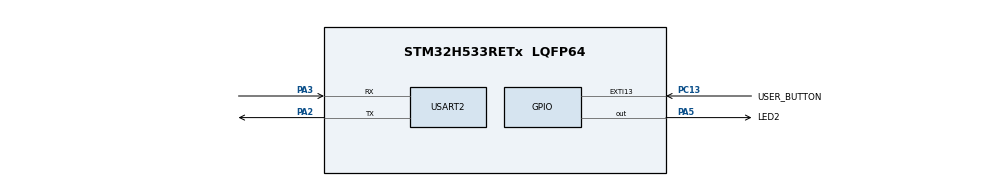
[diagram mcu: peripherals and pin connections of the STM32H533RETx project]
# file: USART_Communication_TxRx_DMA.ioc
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BOOTPATH.BootPathName=LEGACY
BOOTPATH.UserSelectedBootPath=LEGACY
CORTEX_M33_NS.userName=CORTEX_M33
GPDMA1.DESTINC_GPDMACH1=DMA_DINC_INCREMENTED
GPDMA1.IPHANDLE_GPDMACH0-SIMPLEREQUEST_GPDMACH0=__NULL
GPDMA1.IPHANDLE_GPDMACH1-SIMPLEREQUEST_GPDMACH1=__NULL
GPDMA1.REQUEST_GPDMACH0=GPDMA1_REQUEST_USART2_TX
GPDMA1.REQUEST_GPDMACH1=GPDMA1_REQUEST_USART2_RX
GPDMA1.SRCINC_GPDMACH0=DMA_SINC_INCREMENTED
Mcu.Family=STM32H5
Mcu.Name=STM32H533RETx
Mcu.Package=LQFP64
NVIC.EXTI13_IRQn=true\:0\:0\:false\:false\:true\:true\:true\:true
NVIC.GPDMA1_Channel0_IRQn=true\:0\:0\:false\:false\:true\:false\:true\:true
NVIC.GPDMA1_Channel1_IRQn=true\:0\:0\:false\:false\:true\:false\:true\:true
NVIC.PriorityGroup=NVIC_PRIORITYGROUP_4
NVIC.USART2_IRQn=true\:0\:0\:false\:false\:true\:true\:true\:true
PA2.Mode=Asynchronous
PA2.Signal=USART2_TX
PA3.Mode=Asynchronous
PA3.Signal=USART2_RX
PA5.GPIO_Label=LED2
PA5.Signal=GPIO_Output
PC13.GPIO_Label=USER_BUTTON
PC13.Signal=GPXTI13
PH0-OSC_IN(PH0).Mode=HSE-External-Oscillator
PH0-OSC_IN(PH0).Signal=RCC_OSC_IN
PH1-OSC_OUT(PH1).Mode=HSE-External-Oscillator
PH1-OSC_OUT(PH1).Signal=RCC_OSC_OUT
ProjectManager.HeapSize=0x200
ProjectManager.StackSize=0x400
ProjectManager.TargetToolchain=EWARM V9.20
RCC.ADCFreq_Value=250000000
RCC.AHBFreq_Value=250000000
RCC.APB1Freq_Value=250000000
RCC.APB1TimFreq_Value=250000000
RCC.APB2Freq_Value=250000000
RCC.APB2TimFreq_Value=250000000
RCC.APB3Freq_Value=250000000
RCC.CSI_VALUE=4000000
RCC.CortexFreq_Value=250000000
RCC.EPOD_VALUE=24000000
RCC.HCLKFreq_Value=250000000
RCC.HSE_VALUE=24000000
RCC.HSI48_VALUE=48000000
RCC.HSI_VALUE=64000000
RCC.LSE_VALUE=32768
RCC.LSIRC_VALUE=32000
RCC.PLLM=12
RCC.PLLN=250
RCC.PLLSourceVirtual=RCC_PLL1_SOURCE_HSE
RCC.SYSCLKFreq_VALUE=250000000
RCC.SYSCLKSource=RCC_SYSCLKSOURCE_PLLCLK
RCC.USBFreq_Value=48000000
RCC.VCOOutputFreq_Value=500000000
USART2.VirtualMode=VM_ASYNC
VP_BOOTPATH_VS_BOOTPATH.Mode=BP_Activate
VP_CORTEX_M33_NS_VS_Hclk.Mode=Hclk_Mode
VP_GPDMA1_VS_GPDMACH0.Mode=SIMPLEREQUEST_GPDMACH0
VP_GPDMA1_VS_GPDMACH1.Mode=SIMPLEREQUEST_GPDMACH1
VP_ICACHE_VS_ICACHE.Mode=DefaultMode
VP_MEMORYMAP_VS_MEMORYMAP.Mode=CurAppReg
VP_PWR_VS_DBSignals.Mode=DisableDeadBatterySignals
VP_PWR_VS_LPOM.Mode=PowerOptimisation
VP_PWR_VS_SECSignals.Mode=Security/Privilege
board=custom

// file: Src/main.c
/* USER CODE BEGIN Header */
/**
  ******************************************************************************
  * @file   USART/USART_Communication_TxRx_DMA/Src/main.c
  * @brief  This sample code shows how to use STM32H5xx USART AND GPDMA LL API to transfer data
  *         to/from UART peripheral from/to a PC hyperTerminal application, in DMA mode.
  ******************************************************************************
  * @attention
  *
  * Copyright (c) 2023 STMicroelectronics.
  * All rights reserved.
  *
  * This software is licensed under terms that can be found in the LICENSE file
  * in the root directory of this software component.
  * If no LICENSE file comes with this software, it is provided AS-IS.
  *
  ******************************************************************************
  */
/* USER CODE END Header */
#include "main.h"

/* USER CODE BEGIN PV */
__IO uint8_t ubButtonPress = 0;
__IO uint8_t ubSend = 0;
/* Buffer used for transmission */
const uint8_t aTxBuffer[] = "STM32H5xx USART LL API Example : TX/RX in DMA mode\r\nConfiguration UART 115200 bps, 8 data bit/1 stop bit/No parity/No HW flow control\r\nPlease enter 'END' string ...\r\n";
uint8_t ubNbDataToTransmit = sizeof(aTxBuffer);
__IO uint8_t ubTransmissionComplete = 0;

/* Buffer used for reception */
const uint8_t aStringToReceive[] = "END";
uint8_t ubNbDataToReceive = sizeof(aStringToReceive) - 1;
uint8_t aRxBuffer[sizeof(aStringToReceive) - 1];
__IO uint8_t ubReceptionComplete = 0;

/* USER CODE END PV */

void SystemClock_Config(void);
static void MX_GPIO_Init(void);
static void MX_GPDMA1_Init(void);
static void MX_ICACHE_Init(void);
static void MX_USART2_UART_Init(void);
/* USER CODE BEGIN PFP */
void     StartTransfers(void);
void     LED_On(void);
void     LED_Blinking(uint32_t Period);
void     LED_Off(void);
void     WaitForUserButtonPress(void);
void     WaitAndCheckEndOfTransfer(void);
uint8_t  Buffercmp8(uint8_t* pBuffer1, uint8_t* pBuffer2, uint8_t BufferLength);

/* USER CODE END PFP */

int main(void)
{

  /* MCU Configuration--------------------------------------------------------*/

  /* Reset of all peripherals, Initializes the Flash interface and the Systick. */

  /* System interrupt init*/
  NVIC_SetPriorityGrouping(NVIC_PRIORITYGROUP_4);

  /* SysTick_IRQn interrupt configuration */
  NVIC_SetPriority(SysTick_IRQn, NVIC_EncodePriority(NVIC_GetPriorityGrouping(),15, 0));

  /* Disable the internal Pull-Up in Dead Battery pins of UCPD peripheral */
  LL_PWR_DisableUCPDDeadBattery();

  /* Configure the system clock */
  SystemClock_Config();

  /* Initialize all configured peripherals */
  MX_GPIO_Init();
  MX_GPDMA1_Init();
  MX_ICACHE_Init();
  MX_USART2_UART_Init();
  /* USER CODE BEGIN 2 */
  /* Wait for USER push-button press to start transfer */
  WaitForUserButtonPress();

  /* Initiate DMA transfers */
  StartTransfers();

  /* Wait for the end of the transfer and check received data */
  WaitAndCheckEndOfTransfer();

  /* USER CODE END 2 */

  /* Infinite loop */
  while (1)
  {

  }
}

void SystemClock_Config(void)
{
  LL_FLASH_SetLatency(LL_FLASH_LATENCY_5);
  while(LL_FLASH_GetLatency()!= LL_FLASH_LATENCY_5)
  {
  }

  LL_PWR_SetRegulVoltageScaling(LL_PWR_REGU_VOLTAGE_SCALE0);
  while (LL_PWR_IsActiveFlag_VOS() == 0)
  {
  }
  LL_RCC_HSE_Enable();

   /* Wait till HSE is ready */
  while(LL_RCC_HSE_IsReady() != 1)
  {
  }

  LL_RCC_PLL1_SetSource(LL_RCC_PLL1SOURCE_HSE);
  LL_RCC_PLL1_SetVCOInputRange(LL_RCC_PLLINPUTRANGE_2_4);
  LL_RCC_PLL1_SetVCOOutputRange(LL_RCC_PLLVCORANGE_WIDE);
  LL_RCC_PLL1_SetM(12);
  LL_RCC_PLL1_SetN(250);
  LL_RCC_PLL1_SetP(2);
  LL_RCC_PLL1_SetQ(2);
  LL_RCC_PLL1_SetR(2);
  LL_RCC_PLL1P_Enable();
  LL_RCC_PLL1_Enable();

   /* Wait till PLL is ready */
  while(LL_RCC_PLL1_IsReady() != 1)
  {
  }

  LL_RCC_SetSysClkSource(LL_RCC_SYS_CLKSOURCE_PLL1);

   /* Wait till System clock is ready */
  while(LL_RCC_GetSysClkSource() != LL_RCC_SYS_CLKSOURCE_STATUS_PLL1)
  {
  }

  LL_RCC_SetAHBPrescaler(LL_RCC_SYSCLK_DIV_1);
  LL_RCC_SetAPB1Prescaler(LL_RCC_APB1_DIV_1);
  LL_RCC_SetAPB2Prescaler(LL_RCC_APB2_DIV_1);
  LL_RCC_SetAPB3Prescaler(LL_RCC_APB3_DIV_1);

  LL_Init1msTick(250000000);

  LL_SetSystemCoreClock(250000000);
}

static void MX_GPDMA1_Init(void)
{

  /* Peripheral clock enable */
  LL_AHB1_GRP1_EnableClock(LL_AHB1_GRP1_PERIPH_GPDMA1);

  /* GPDMA1 interrupt Init */
  NVIC_SetPriority(GPDMA1_Channel0_IRQn, NVIC_EncodePriority(NVIC_GetPriorityGrouping(),0, 0));
  NVIC_EnableIRQ(GPDMA1_Channel0_IRQn);
  NVIC_SetPriority(GPDMA1_Channel1_IRQn, NVIC_EncodePriority(NVIC_GetPriorityGrouping(),0, 0));
  NVIC_EnableIRQ(GPDMA1_Channel1_IRQn);

}

static void MX_ICACHE_Init(void)
{

  /** Enable instruction cache (default 2-ways set associative cache)
  */
  LL_ICACHE_Enable();

}

static void MX_USART2_UART_Init(void)
{

  LL_USART_InitTypeDef USART_InitStruct = {0};

  LL_GPIO_InitTypeDef GPIO_InitStruct = {0};
  LL_DMA_InitTypeDef DMA_InitStruct = {0};

  LL_RCC_SetUSARTClockSource(LL_RCC_USART2_CLKSOURCE_PCLK1);

  /* Peripheral clock enable */
  LL_APB1_GRP1_EnableClock(LL_APB1_GRP1_PERIPH_USART2);

  LL_AHB2_GRP1_EnableClock(LL_AHB2_GRP1_PERIPH_GPIOA);
  /**USART2 GPIO Configuration
  PA2   ------> USART2_TX
  PA3   ------> USART2_RX
  */
  GPIO_InitStruct.Pin = LL_GPIO_PIN_2|LL_GPIO_PIN_3;
  GPIO_InitStruct.Mode = LL_GPIO_MODE_ALTERNATE;
  GPIO_InitStruct.Speed = LL_GPIO_SPEED_FREQ_LOW;
  GPIO_InitStruct.OutputType = LL_GPIO_OUTPUT_PUSHPULL;
  GPIO_InitStruct.Pull = LL_GPIO_PULL_NO;
  GPIO_InitStruct.Alternate = LL_GPIO_AF_7;
  LL_GPIO_Init(GPIOA, &GPIO_InitStruct);

  /* USART2 DMA Init */

  /* GPDMA1_REQUEST_USART2_RX Init */
  DMA_InitStruct.SrcAddress = 0x00000000U;
  DMA_InitStruct.DestAddress = 0x00000000U;
  DMA_InitStruct.Direction = LL_DMA_DIRECTION_PERIPH_TO_MEMORY;
  DMA_InitStruct.BlkHWRequest = LL_DMA_HWREQUEST_SINGLEBURST;
  DMA_InitStruct.DataAlignment = LL_DMA_DATA_ALIGN_ZEROPADD;
  DMA_InitStruct.SrcBurstLength = 1;
  DMA_InitStruct.DestBurstLength = 1;
  DMA_InitStruct.SrcDataWidth = LL_DMA_SRC_DATAWIDTH_BYTE;
  DMA_InitStruct.DestDataWidth = LL_DMA_DEST_DATAWIDTH_BYTE;
  DMA_InitStruct.SrcIncMode = LL_DMA_SRC_FIXED;
  DMA_InitStruct.DestIncMode = LL_DMA_DEST_INCREMENT;
  DMA_InitStruct.Priority = LL_DMA_LOW_PRIORITY_LOW_WEIGHT;
  DMA_InitStruct.BlkDataLength = 0x00000000U;
  DMA_InitStruct.TriggerMode = LL_DMA_TRIGM_BLK_TRANSFER;
  DMA_InitStruct.TriggerPolarity = LL_DMA_TRIG_POLARITY_MASKED;
  DMA_InitStruct.TriggerSelection = 0x00000000U;
  DMA_InitStruct.Request = LL_GPDMA1_REQUEST_USART2_RX;
  DMA_InitStruct.TransferEventMode = LL_DMA_TCEM_BLK_TRANSFER;
  DMA_InitStruct.Mode = LL_DMA_NORMAL;
  DMA_InitStruct.SrcAllocatedPort = LL_DMA_SRC_ALLOCATED_PORT0;
  DMA_InitStruct.DestAllocatedPort = LL_DMA_DEST_ALLOCATED_PORT0;
  DMA_InitStruct.LinkAllocatedPort = LL_DMA_LINK_ALLOCATED_PORT1;
  DMA_InitStruct.LinkStepMode = LL_DMA_LSM_FULL_EXECUTION;
  DMA_InitStruct.LinkedListBaseAddr = 0x00000000U;
  DMA_InitStruct.LinkedListAddrOffset = 0x00000000U;
  LL_DMA_Init(GPDMA1, LL_DMA_CHANNEL_1, &DMA_InitStruct);

  /* GPDMA1_REQUEST_USART2_TX Init */
  DMA_InitStruct.SrcAddress = 0x00000000U;
  DMA_InitStruct.DestAddress = 0x00000000U;
  DMA_InitStruct.Direction = LL_DMA_DIRECTION_PERIPH_TO_MEMORY;
  DMA_InitStruct.BlkHWRequest = LL_DMA_HWREQUEST_SINGLEBURST;
  DMA_InitStruct.DataAlignment = LL_DMA_DATA_ALIGN_ZEROPADD;
  DMA_InitStruct.SrcBurstLength = 1;
  DMA_InitStruct.DestBurstLength = 1;
  DMA_InitStruct.SrcDataWidth = LL_DMA_SRC_DATAWIDTH_BYTE;
  DMA_InitStruct.DestDataWidth = LL_DMA_DEST_DATAWIDTH_BYTE;
  DMA_InitStruct.SrcIncMode = LL_DMA_SRC_INCREMENT;
  DMA_InitStruct.DestIncMode = LL_DMA_DEST_FIXED;
  DMA_InitStruct.Priority = LL_DMA_LOW_PRIORITY_LOW_WEIGHT;
  DMA_InitStruct.BlkDataLength = 0x00000000U;
  DMA_InitStruct.TriggerMode = LL_DMA_TRIGM_BLK_TRANSFER;
  DMA_InitStruct.TriggerPolarity = LL_DMA_TRIG_POLARITY_MASKED;
  DMA_InitStruct.TriggerSelection = 0x00000000U;
  DMA_InitStruct.Request = LL_GPDMA1_REQUEST_USART2_TX;
  DMA_InitStruct.TransferEventMode = LL_DMA_TCEM_BLK_TRANSFER;
  DMA_InitStruct.Mode = LL_DMA_NORMAL;
  DMA_InitStruct.SrcAllocatedPort = LL_DMA_SRC_ALLOCATED_PORT0;
  DMA_InitStruct.DestAllocatedPort = LL_DMA_DEST_ALLOCATED_PORT0;
  DMA_InitStruct.LinkAllocatedPort = LL_DMA_LINK_ALLOCATED_PORT1;
  DMA_InitStruct.LinkStepMode = LL_DMA_LSM_FULL_EXECUTION;
  DMA_InitStruct.LinkedListBaseAddr = 0x00000000U;
  DMA_InitStruct.LinkedListAddrOffset = 0x00000000U;
  LL_DMA_Init(GPDMA1, LL_DMA_CHANNEL_0, &DMA_InitStruct);

  /* USART2 interrupt Init */
  NVIC_SetPriority(USART2_IRQn, NVIC_EncodePriority(NVIC_GetPriorityGrouping(),0, 0));
  NVIC_EnableIRQ(USART2_IRQn);

  /* USER CODE BEGIN USART2_Init 1 */
  /* Configure the DMA functional parameters for transmission */
  LL_DMA_ConfigAddresses(GPDMA1, LL_DMA_CHANNEL_0,
                         (uint32_t)aTxBuffer,
                         LL_USART_DMA_GetRegAddr(USART2, LL_USART_DMA_REG_DATA_TRANSMIT));
  LL_DMA_SetBlkDataLength(GPDMA1, LL_DMA_CHANNEL_0, ubNbDataToTransmit);

  /* Configure the DMA functional parameters for reception */
  LL_DMA_ConfigAddresses(GPDMA1, LL_DMA_CHANNEL_1,
                         LL_USART_DMA_GetRegAddr(USART2, LL_USART_DMA_REG_DATA_RECEIVE),
                         (uint32_t)aRxBuffer);
  LL_DMA_SetBlkDataLength(GPDMA1, LL_DMA_CHANNEL_1, ubNbDataToReceive);

  /* Enable DMA transfer complete/error interrupts  */
  LL_DMA_EnableIT_TC(GPDMA1, LL_DMA_CHANNEL_0);
  LL_DMA_EnableIT_DTE(GPDMA1, LL_DMA_CHANNEL_0);
  LL_DMA_EnableIT_TC(GPDMA1, LL_DMA_CHANNEL_1);
  LL_DMA_EnableIT_DTE(GPDMA1, LL_DMA_CHANNEL_1);

  /* USER CODE END USART2_Init 1 */
  USART_InitStruct.PrescalerValue = LL_USART_PRESCALER_DIV1;
  USART_InitStruct.BaudRate = 115200;
  USART_InitStruct.DataWidth = LL_USART_DATAWIDTH_8B;
  USART_InitStruct.StopBits = LL_USART_STOPBITS_1;
  USART_InitStruct.Parity = LL_USART_PARITY_NONE;
  USART_InitStruct.TransferDirection = LL_USART_DIRECTION_TX_RX;
  USART_InitStruct.HardwareFlowControl = LL_USART_HWCONTROL_NONE;
  USART_InitStruct.OverSampling = LL_USART_OVERSAMPLING_16;
  LL_USART_Init(USART2, &USART_InitStruct);
  LL_USART_SetTXFIFOThreshold(USART2, LL_USART_FIFOTHRESHOLD_1_8);
  LL_USART_SetRXFIFOThreshold(USART2, LL_USART_FIFOTHRESHOLD_1_8);
  LL_USART_DisableFIFO(USART2);
  LL_USART_ConfigAsyncMode(USART2);
  LL_USART_Enable(USART2);

}

static void MX_GPIO_Init(void)
{
  LL_EXTI_InitTypeDef EXTI_InitStruct = {0};
  LL_GPIO_InitTypeDef GPIO_InitStruct = {0};

  /* GPIO Ports Clock Enable */
  LL_AHB2_GRP1_EnableClock(LL_AHB2_GRP1_PERIPH_GPIOC);
  LL_AHB2_GRP1_EnableClock(LL_AHB2_GRP1_PERIPH_GPIOH);
  LL_AHB2_GRP1_EnableClock(LL_AHB2_GRP1_PERIPH_GPIOA);

  /**/
  LL_GPIO_ResetOutputPin(LED2_GPIO_Port, LED2_Pin);

  /**/
  LL_EXTI_SetEXTISource(LL_EXTI_EXTI_PORTC, LL_EXTI_EXTI_LINE13);

  /**/
  EXTI_InitStruct.Line_0_31 = LL_EXTI_LINE_13;
  EXTI_InitStruct.Line_32_63 = LL_EXTI_LINE_NONE;
  EXTI_InitStruct.LineCommand = ENABLE;
  EXTI_InitStruct.Mode = LL_EXTI_MODE_IT;
  EXTI_InitStruct.Trigger = LL_EXTI_TRIGGER_RISING;
  LL_EXTI_Init(&EXTI_InitStruct);

  /**/
  LL_GPIO_SetPinPull(USER_BUTTON_GPIO_Port, USER_BUTTON_Pin, LL_GPIO_PULL_NO);

  /**/
  LL_GPIO_SetPinMode(USER_BUTTON_GPIO_Port, USER_BUTTON_Pin, LL_GPIO_MODE_INPUT);

  /**/
  GPIO_InitStruct.Pin = LED2_Pin;
  GPIO_InitStruct.Mode = LL_GPIO_MODE_OUTPUT;
  GPIO_InitStruct.Speed = LL_GPIO_SPEED_FREQ_LOW;
  GPIO_InitStruct.OutputType = LL_GPIO_OUTPUT_PUSHPULL;
  GPIO_InitStruct.Pull = LL_GPIO_PULL_NO;
  LL_GPIO_Init(LED2_GPIO_Port, &GPIO_InitStruct);

  /* EXTI interrupt init*/
  NVIC_SetPriority(EXTI13_IRQn, NVIC_EncodePriority(NVIC_GetPriorityGrouping(),0, 0));
  NVIC_EnableIRQ(EXTI13_IRQn);

}

/* USER CODE BEGIN 4 */
/**
  * @brief  This function initiates TX and RX DMA transfers by enabling DMA channels
  * @param  None
  * @retval None
  */
void StartTransfers(void)
{
  /* Enable DMA RX Interrupt */
  LL_USART_EnableDMAReq_RX(USART2);

  /* Enable DMA TX Interrupt */
  LL_USART_EnableDMAReq_TX(USART2);

  /* Enable DMA Channel Rx */
  LL_DMA_EnableChannel(GPDMA1, LL_DMA_CHANNEL_1);

  /* Enable DMA Channel Tx */
  LL_DMA_EnableChannel(GPDMA1, LL_DMA_CHANNEL_0);
}

/**
  * @brief  Turn-on LED2.
  * @param  None
  * @retval None
  */
void LED_On(void)
{
  /* Turn LED2 on */
  LL_GPIO_SetOutputPin(LED2_GPIO_Port, LED2_Pin);
}

/**
  * @brief  Turn-off LED2.
  * @param  None
  * @retval None
  */
void LED_Off(void)
{
  /* Turn LED2 off */
  LL_GPIO_ResetOutputPin(LED2_GPIO_Port, LED2_Pin);
}

/**
  * @brief  Set LED2 to Blinking mode for an infinite loop (toggle period based on value provided as input parameter).
  * @param  Period : Period of time (in ms) between each toggling of LED
  *   This parameter can be user defined values. Pre-defined values used in that example are :
  *     @arg LED_BLINK_FAST : Fast Blinking
  *     @arg LED_BLINK_SLOW : Slow Blinking
  *     @arg LED_BLINK_ERROR : Error specific Blinking
  * @retval None
  */
void LED_Blinking(uint32_t Period)
{
  /* Toggle LED2 in an infinite loop */
  while (1)
  {
    LL_GPIO_TogglePin(LED2_GPIO_Port, LED2_Pin);
    LL_mDelay(Period);
  }
}

/**
  * @brief  Wait for USER push-button press to start transfer.
  * @param  None
  * @retval None
  */
  /*  */
void WaitForUserButtonPress(void)
{
  while (ubButtonPress == 0)
  {
    LL_GPIO_TogglePin(LED2_GPIO_Port, LED2_Pin);
    LL_mDelay(LED_BLINK_FAST);
  }
  /* Ensure that LED2 is turned Off */
  LED_Off();
}

/**
  * @brief  Wait end of transfer and check if received Data are well.
  * @param  None
  * @retval None
  */
void WaitAndCheckEndOfTransfer(void)
{
  /* 1 - Wait end of transmission */
  while (ubTransmissionComplete != 1)
  {
  }
  /* Disable GPDMA1 Tx Channel */
  LL_DMA_DisableChannel(GPDMA1, LL_DMA_CHANNEL_0);

  /* 2 - Wait end of reception */
  while (ubReceptionComplete != 1)
  {
  }
  /* Disable GPDMA1 Rx Channel */
  LL_DMA_DisableChannel(GPDMA1, LL_DMA_CHANNEL_1);

  /* 3 - Compare received string to expected one */
  if(Buffercmp8((uint8_t*)aStringToReceive, (uint8_t*)aRxBuffer, ubNbDataToReceive))
  {
    /* Processing Error */
    LED_Blinking(LED_BLINK_ERROR);
  }
  else
  {
    /* Turn On Led if data are well received */
    LED_On();
  }
}

/**
* @brief Compares two 8-bit buffers and returns the comparison result.
* @param pBuffer1: pointer to the source buffer to be compared to.
* @param pBuffer2: pointer to the second source buffer to be compared to the first.
* @param BufferLength: buffer's length.
* @retval   0: Comparison is OK (the two Buffers are identical)
*           Value different from 0: Comparison is NOK (Buffers are different)
*/
uint8_t Buffercmp8(uint8_t* pBuffer1, uint8_t* pBuffer2, uint8_t BufferLength)
{
  while (BufferLength--)
  {
    if (*pBuffer1 != *pBuffer2)
    {
      return 1;
    }

    pBuffer1++;
    pBuffer2++;
  }

  return 0;
}

/******************************************************************************/
/*   USER IRQ HANDLER TREATMENT Functions                                     */
/******************************************************************************/
/**
  * @brief  Function to manage USER push-button
  * @param  None
  * @retval None
  */
void UserButton_Callback(void)
{
  /* Update USER push-button variable : to be checked in waiting loop in main program */
  ubButtonPress = 1;
}

/**
  * @brief  Function called from GPDMA1 IRQ Handler when Tx transfer is completed
  * @param  None
  * @retval None
  */
void GPDMA1_TransmitComplete_Callback(void)
{
  /* DMA Tx transfer completed */
  ubTransmissionComplete = 1;
}

/**
  * @brief  Function called from GPDMA1 IRQ Handler when Rx transfer is completed
  * @param  None
  * @retval None
  */
void GPDMA1_ReceiveComplete_Callback(void)
{
  /* DMA Rx transfer completed */
  ubReceptionComplete = 1;
}

/**
  * @brief  Function called in case of error detected in GPDMA1 IT Handler
  * @param  None
  * @retval None
  */
void GPDMA1_TransferError_Callback(void)
{
  /* Disable GPDMA1 Tx Channel */
  LL_DMA_DisableChannel(GPDMA1, LL_DMA_CHANNEL_0);

  /* Disable GPDMA1 Rx Channel */
  LL_DMA_DisableChannel(GPDMA1, LL_DMA_CHANNEL_1);

  /* Set LED2 to Blinking mode to indicate error occurs */
  LED_Blinking(LED_BLINK_ERROR);
}

/* USER CODE END 4 */

void Error_Handler(void)
{
  __disable_irq();
  while (1)
  {
  }
}
